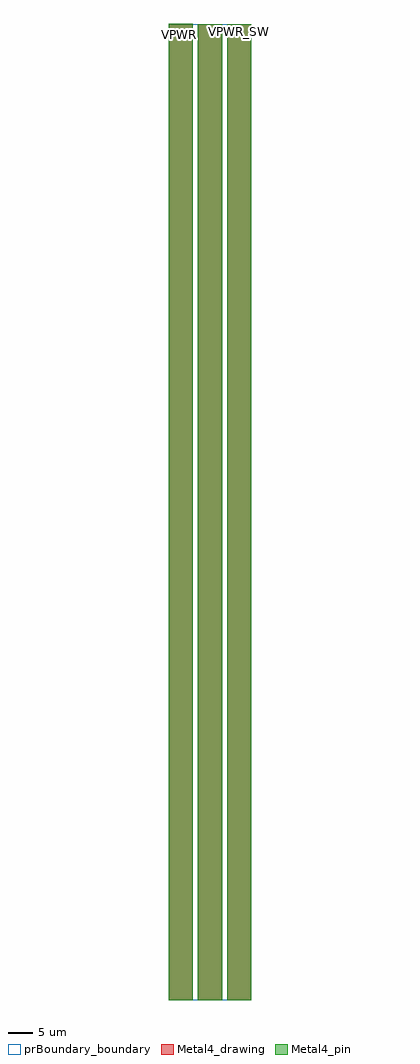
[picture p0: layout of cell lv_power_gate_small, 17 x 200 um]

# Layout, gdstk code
import gdstk
lib = gdstk.Library(unit=1e-6, precision=1e-09)
def R(c, l, rs):  # rectangles x0, y0, x1, y1
    for r in rs: c.add(gdstk.rectangle(r[:2], r[2:], *l))
Metal4_drawing = (50, 0)
Metal4_pin = (50, 2)
prBoundary_boundary = (189, 4)

lv_power_gate_small = lib.new_cell('lv_power_gate_small')
R(lv_power_gate_small, Metal4_drawing, [(0,0,5,200.001), (6,0,11,200), (12,0,17,200)])
R(lv_power_gate_small, Metal4_pin, [(0,0,5,200.001), (6,0,11,200), (12,0,17,200)])
R(lv_power_gate_small, prBoundary_boundary, [(0,0,17,200)])
lv_power_gate_small.add(gdstk.Label('VPWR', (2.307,197.854), layer=50, texttype=2))
lv_power_gate_small.add(gdstk.Label('VGND', (8.371,198.283), layer=50, texttype=2))
lv_power_gate_small.add(gdstk.Label('VPWR_SW', (14.516,198.444), layer=50, texttype=2))

lib.write_gds('lv_power_gate_small.gds')
